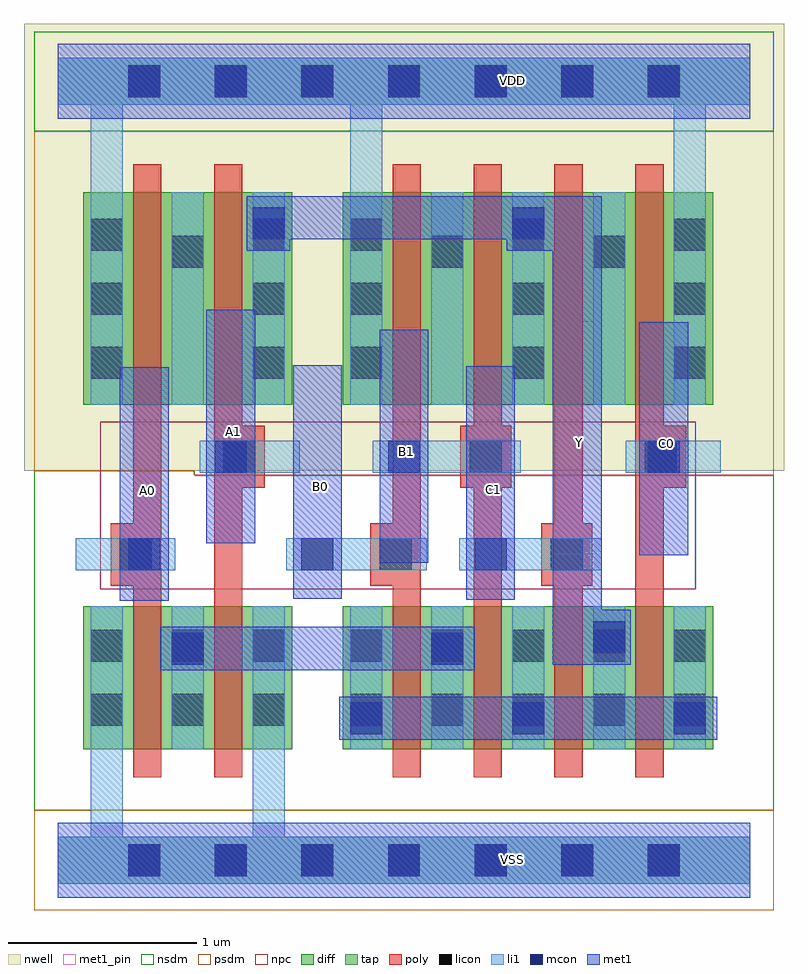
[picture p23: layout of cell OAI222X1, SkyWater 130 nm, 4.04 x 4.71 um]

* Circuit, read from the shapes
.subckt OAI222X1 A0 A1 B0 B1 C0 C1 VDD VSS Y
XM1 n1 A0 VSS VSS sky130_fd_pr__nfet_01v8 w=0.76 l=0.15
XM2 VSS A1 n1 VSS sky130_fd_pr__nfet_01v8 w=0.76 l=0.15
XM3 n1 B0 n2 VSS sky130_fd_pr__nfet_01v8 w=0.76 l=0.15
XM4 n2 B1 n1 VSS sky130_fd_pr__nfet_01v8 w=0.76 l=0.15
XM5 Y C1 n2 VSS sky130_fd_pr__nfet_01v8 w=0.76 l=0.15
XM6 n2 C0 Y VSS sky130_fd_pr__nfet_01v8 w=0.76 l=0.15
XM7 n3 A0 VDD VDD sky130_fd_pr__pfet_01v8 w=1.13 l=0.15
XM8 Y A1 n3 VDD sky130_fd_pr__pfet_01v8 w=1.13 l=0.15
XM9 n4 B0 VDD VDD sky130_fd_pr__pfet_01v8 w=1.13 l=0.15
XM10 Y B1 n4 VDD sky130_fd_pr__pfet_01v8 w=1.13 l=0.15
XM11 n5 C1 Y VDD sky130_fd_pr__pfet_01v8 w=1.13 l=0.15
XM12 VDD C0 n5 VDD sky130_fd_pr__pfet_01v8 w=1.13 l=0.15
.ends

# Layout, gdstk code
from math import pi, radians
import gdstk
lib = gdstk.Library(unit=1e-6, precision=1e-09)
def R(c, l, rs):  # rectangles x0, y0, x1, y1
    for r in rs: c.add(gdstk.rectangle(r[:2], r[2:], *l))
def A(c, l, x, y, w, h, nx, ny, dx, dy):  # array of equal rectangles
    R(c, l, [(x+i*dx, y+j*dy, x+i*dx+w, y+j*dy+h) for i in range(nx) for j in range(ny)])
def P(c, l, *ps):  # polygons
    for p in ps: c.add(gdstk.Polygon(p, *l))
nwell = (64, 20)
diff = (65, 20)
tap = (65, 44)
poly = (66, 20)
licon = (66, 44)
li1 = (67, 20)
mcon = (67, 44)
met1_pin = (68, 16)
met1 = (68, 20)
nsdm = (93, 44)
psdm = (94, 20)
npc = (95, 20)

nfet_01v8_cdns_715785618 = lib.new_cell('nfet_01v8_CDNS_71578561820132')
R(nfet_01v8_cdns_715785618, diff, [(-0.055,0,0,0.76), (0,0,0.15,0.76), (0.15,0,0.415,0.76)])
R(nfet_01v8_cdns_715785618, poly, [(0,-0.15,0.15,-0.095), (0,-0.095,0.15,0), (0,0,0.15,0.76), (0,0.76,0.15,0.855), (0,0.855,0.15,0.91)])
R(nfet_01v8_cdns_715785618, licon, [(0.205,0.125,0.375,0.295), (0.205,0.465,0.375,0.635)])
R(nfet_01v8_cdns_715785618, li1, [(0.205,0,0.375,0.76)])
R(nfet_01v8_cdns_715785618, nsdm, [(-0.065,-0.13,0.555,0.89)])

pfet_01v8_cdns_715785618 = lib.new_cell('pfet_01v8_CDNS_71578561820133')
R(pfet_01v8_cdns_715785618, nwell, [(-0.405,-0.18,0.385,1.31)])
R(pfet_01v8_cdns_715785618, diff, [(-0.225,0,0,1.13), (0,0,0.15,1.13), (0.15,0,0.205,1.13)])
R(pfet_01v8_cdns_715785618, poly, [(0,-0.15,0.15,-0.095), (0,-0.095,0.15,0), (0,0,0.15,1.13), (0,1.13,0.15,1.225), (0,1.225,0.15,1.28)])
R(pfet_01v8_cdns_715785618, psdm, [(-0.235,-0.13,0.215,1.26)])

c_pfet_01v8_cdns_715785618 = lib.new_cell('pfet_01v8_CDNS_715785618204')
R(c_pfet_01v8_cdns_715785618, nwell, [(-0.235,-0.18,0.595,1.31)])
R(c_pfet_01v8_cdns_715785618, diff, [(-0.055,0,0,1.13), (0,0,0.15,1.13), (0.15,0,0.415,1.13)])
R(c_pfet_01v8_cdns_715785618, poly, [(0,-0.15,0.15,-0.095), (0,-0.095,0.15,0), (0,0,0.15,1.13), (0,1.13,0.15,1.225), (0,1.225,0.15,1.28)])
A(c_pfet_01v8_cdns_715785618, licon, 0.205, 0.14, 0.17, 0.17, 1, 3, 0, 0.34)
R(c_pfet_01v8_cdns_715785618, li1, [(0.205,0,0.375,1.13)])
R(c_pfet_01v8_cdns_715785618, psdm, [(-0.065,-0.13,0.555,1.26)])

c_nfet_01v8_cdns_715785618 = lib.new_cell('nfet_01v8_CDNS_71578561820134')
R(c_nfet_01v8_cdns_715785618, diff, [(-0.225,0,0,0.76), (0,0,0.15,0.76), (0.15,0,0.375,0.76)])
R(c_nfet_01v8_cdns_715785618, poly, [(0,-0.15,0.15,-0.095), (0,-0.095,0.15,0), (0,0,0.15,0.76), (0,0.76,0.15,0.855), (0,0.855,0.15,0.91)])
R(c_nfet_01v8_cdns_715785618, licon, [(-0.225,0.125,-0.055,0.295), (0.205,0.125,0.375,0.295), (-0.225,0.465,-0.055,0.635), (0.205,0.465,0.375,0.635)])
R(c_nfet_01v8_cdns_715785618, li1, [(-0.225,0,-0.055,0.76), (0.205,0,0.375,0.76)])
R(c_nfet_01v8_cdns_715785618, nsdm, [(-0.235,-0.13,0.385,0.89)])

c_nfet_01v8_cdns_715785618_ = lib.new_cell('nfet_01v8_CDNS_715785618203')
R(c_nfet_01v8_cdns_715785618_, diff, [(-0.055,0,0,0.76), (0,0,0.15,0.76), (0.15,0,0.415,0.76)])
R(c_nfet_01v8_cdns_715785618_, poly, [(0,-0.15,0.15,-0.095), (0,-0.095,0.15,0), (0,0,0.15,0.76), (0,0.76,0.15,0.855), (0,0.855,0.15,0.91)])
R(c_nfet_01v8_cdns_715785618_, licon, [(0.205,0.125,0.375,0.295), (0.205,0.465,0.375,0.635)])
R(c_nfet_01v8_cdns_715785618_, li1, [(0.205,0,0.375,0.76)])
R(c_nfet_01v8_cdns_715785618_, nsdm, [(-0.065,-0.13,0.555,0.89)])

c_nfet_01v8_cdns_715785618__ = lib.new_cell('nfet_01v8_CDNS_715785618207')
R(c_nfet_01v8_cdns_715785618__, diff, [(-0.225,0,0,0.76), (0,0,0.15,0.76), (0.15,0,0.415,0.76)])
R(c_nfet_01v8_cdns_715785618__, poly, [(0,-0.15,0.15,-0.095), (0,-0.095,0.15,0), (0,0,0.15,0.76), (0,0.76,0.15,0.855), (0,0.855,0.15,0.91)])
R(c_nfet_01v8_cdns_715785618__, licon, [(-0.225,0.125,-0.055,0.295), (0.205,0.125,0.375,0.295), (-0.225,0.465,-0.055,0.635), (0.205,0.465,0.375,0.635)])
R(c_nfet_01v8_cdns_715785618__, li1, [(-0.225,0,-0.055,0.76), (0.205,0,0.375,0.76)])
R(c_nfet_01v8_cdns_715785618__, nsdm, [(-0.235,-0.13,0.555,0.89)])

c_pfet_01v8_cdns_715785618_ = lib.new_cell('pfet_01v8_CDNS_71578561820135')
R(c_pfet_01v8_cdns_715785618_, nwell, [(-0.405,-0.18,0.555,1.31)])
R(c_pfet_01v8_cdns_715785618_, diff, [(-0.225,0,0,1.13), (0,0,0.15,1.13), (0.15,0,0.375,1.13)])
R(c_pfet_01v8_cdns_715785618_, poly, [(0,-0.15,0.15,-0.095), (0,-0.095,0.15,0), (0,0,0.15,1.13), (0,1.13,0.15,1.225), (0,1.225,0.15,1.28)])
A(c_pfet_01v8_cdns_715785618_, licon, 0.205, 0.14, 0.17, 0.17, 1, 3, 0, 0.34)
R(c_pfet_01v8_cdns_715785618_, li1, [(0.205,0,0.375,1.13)])
R(c_pfet_01v8_cdns_715785618_, psdm, [(-0.235,-0.13,0.385,1.26)])

c_pfet_01v8_cdns_715785618__ = lib.new_cell('pfet_01v8_CDNS_71578561820136')
R(c_pfet_01v8_cdns_715785618__, nwell, [(-0.405,-0.18,0.595,1.31)])
R(c_pfet_01v8_cdns_715785618__, diff, [(-0.225,0,0,1.13), (0,0,0.15,1.13), (0.15,0,0.415,1.13)])
R(c_pfet_01v8_cdns_715785618__, poly, [(0,-0.15,0.15,-0.095), (0,-0.095,0.15,0), (0,0,0.15,1.13), (0,1.13,0.15,1.225), (0,1.225,0.15,1.28)])
A(c_pfet_01v8_cdns_715785618__, licon, 0.205, 0.14, 0.17, 0.17, 1, 3, 0, 0.34)
R(c_pfet_01v8_cdns_715785618__, li1, [(0.205,0,0.375,1.13)])
R(c_pfet_01v8_cdns_715785618__, psdm, [(-0.235,-0.13,0.555,1.26)])

c_nfet_01v8_cdns_715785618___ = lib.new_cell('nfet_01v8_CDNS_71578561820137')
R(c_nfet_01v8_cdns_715785618___, diff, [(-0.225,0,0,0.76), (0,0,0.15,0.76), (0.15,0,0.205,0.76)])
R(c_nfet_01v8_cdns_715785618___, poly, [(0,-0.15,0.15,-0.095), (0,-0.095,0.15,0), (0,0,0.15,0.76), (0,0.76,0.15,0.855), (0,0.855,0.15,0.91)])
R(c_nfet_01v8_cdns_715785618___, licon, [(-0.225,0.125,-0.055,0.295), (-0.225,0.465,-0.055,0.635)])
R(c_nfet_01v8_cdns_715785618___, li1, [(-0.225,0,-0.055,0.76)])
R(c_nfet_01v8_cdns_715785618___, nsdm, [(-0.235,-0.13,0.215,0.89)])

pyl1con_c_cdns_715785618 = lib.new_cell('PYL1CON_C_CDNS_715785618200')
R(pyl1con_c_cdns_715785618, poly, [(-0.135,-0.165,0.135,0.165)])
R(pyl1con_c_cdns_715785618, licon, [(-0.085,-0.085,0.085,0.085)])
R(pyl1con_c_cdns_715785618, npc, [(-0.185,-0.185,0.185,0.185)])

licondiff_c_cdns_7157856 = lib.new_cell('LICONDIFF_C_CDNS_7157856182013')
R(licondiff_c_cdns_7157856, diff, [(-0.125,-0.145,0.125,0.145)])
R(licondiff_c_cdns_7157856, licon, [(-0.085,-0.085,0.085,0.085), (-0.085,-0.085,0.085,0.085)])

l1m1_c_cdns_715785618203 = lib.new_cell('L1M1_C_CDNS_715785618203')
R(l1m1_c_cdns_715785618203, li1, [(-0.165,-0.085,0.165,0.085)])
R(l1m1_c_cdns_715785618203, mcon, [(-0.085,-0.085,0.085,0.085)])
R(l1m1_c_cdns_715785618203, met1, [(-0.115,-0.145,0.115,0.145)])

l1m1_c_cdns_715785618206 = lib.new_cell('L1M1_C_CDNS_715785618206')
R(l1m1_c_cdns_715785618206, li1, [(-0.085,-0.165,0.085,0.165)])
R(l1m1_c_cdns_715785618206, mcon, [(-0.085,-0.085,0.085,0.085)])
R(l1m1_c_cdns_715785618206, met1, [(-0.145,-0.115,0.145,0.115)])

l1m1_c_cdns_715785618202 = lib.new_cell('L1M1_C_CDNS_715785618202')
R(l1m1_c_cdns_715785618202, li1, [(-0.085,-0.165,0.085,0.165)])
R(l1m1_c_cdns_715785618202, mcon, [(-0.085,-0.085,0.085,0.085)])
R(l1m1_c_cdns_715785618202, met1, [(-0.115,-0.145,0.115,0.145)])

oai222x1 = lib.new_cell('OAI222X1')
R(oai222x1, nwell, [(-0.18,2.07,3.86,4.305), (-0.18,3.875,3.86,4.445)])
A(oai222x1, licon, 0.375, -0.085, 0.17, 0.17, 7, 2, 0.46, 4.14)
A(oai222x1, mcon, 0.375, -0.085, 0.17, 0.17, 7, 2, 0.46, 4.14)
R(oai222x1, met1_pin, [(0.33,1.38,0.59,2.62), (2.17,1.385,2.43,2.625), (1.25,1.39,1.51,2.63), (1.71,1.58,1.97,2.82), (3.09,1.62,3.35,2.86), (2.63,1.625,2.89,2.865), (0.79,1.685,1.05,2.925)])
R(oai222x1, met1, [(2.385,3.24,2.89,3.53)])
R(oai222x1, nsdm, [(-0.125,3.875,3.805,4.405), (-0.125,3.93,3.805,4.35)])
P(oai222x1, nsdm, [(3.805,2.045),(0.725,2.045),(0.725,2.07),(-0.125,2.07),(-0.125,0.265),(3.805,0.265)])
R(oai222x1, psdm, [(-0.125,-0.265,3.805,0.265), (-0.125,-0.21,3.805,0.21)])
P(oai222x1, psdm, [(3.805,3.875),(-0.125,3.875),(-0.125,2.07),(0.725,2.07),(0.725,2.045),(3.805,2.045)])
R(oai222x1, npc, [(0.225,1.44,3.39,2.33)])
oai222x1.add(gdstk.FlexPath([(0,0),(3.68,0)], 0.25, ends="flush", simple_path=True, layer=65, datatype=44))  # tap
oai222x1.add(gdstk.FlexPath([(0,4.14),(3.68,4.14)], 0.25, ends="flush", simple_path=True, layer=65, datatype=44))  # tap
oai222x1.add(gdstk.FlexPath([(0.475,1.5),(0.475,2.27)], 0.15, ends="flush", simple_path=True, layer=66, datatype=20))  # poly
oai222x1.add(gdstk.FlexPath([(1.855,1.5),(1.855,2.33)], 0.15, ends="flush", simple_path=True, layer=66, datatype=20))  # poly
oai222x1.add(gdstk.FlexPath([(0.905,1.5),(0.905,2.355)], 0.15, ends="flush", simple_path=True, layer=66, datatype=20))  # poly
oai222x1.add(gdstk.FlexPath([(3.145,1.5),(3.145,2.27)], 0.15, ends="flush", simple_path=True, layer=66, datatype=20))  # poly
oai222x1.add(gdstk.FlexPath([(2.715,1.5),(2.715,2.335)], 0.15, ends="flush", simple_path=True, layer=66, datatype=20))  # poly
oai222x1.add(gdstk.FlexPath([(2.285,1.5),(2.285,2.33)], 0.15, ends="flush", simple_path=True, layer=66, datatype=20))  # poly
oai222x1.add(gdstk.FlexPath([(1.475,1.625),(1.96,1.625)], 0.17, ends="flush", simple_path=True, layer=67, datatype=20))  # li1
oai222x1.add(gdstk.FlexPath([(3.525,2.145),(3.02,2.145)], 0.17, ends="flush", simple_path=True, layer=67, datatype=20))  # li1
oai222x1.add(gdstk.FlexPath([(1.955,2.145),(2.46,2.145)], 0.17, ends="flush", simple_path=True, layer=67, datatype=20))  # li1
oai222x1.add(gdstk.FlexPath([(0.69,2.42),(0.69,3.55)], 0.17, ends="flush", simple_path=True, layer=67, datatype=20))  # li1
oai222x1.add(gdstk.FlexPath([(0.095,1.625),(0.6,1.625)], 0.17, ends="flush", simple_path=True, layer=67, datatype=20))  # li1
oai222x1.add(gdstk.FlexPath([(2.93,2.42),(2.93,3.55)], 0.17, ends="flush", simple_path=True, layer=67, datatype=20))  # li1
oai222x1.add(gdstk.FlexPath([(1.285,2.145),(0.78,2.145)], 0.17, ends="flush", simple_path=True, layer=67, datatype=20))  # li1
oai222x1.add(gdstk.FlexPath([(2.385,1.625),(2.89,1.625)], 0.17, ends="flush", simple_path=True, layer=67, datatype=20))  # li1
oai222x1.add(gdstk.FlexPath([(2.07,2.42),(2.07,3.55)], 0.17, ends="flush", simple_path=True, layer=67, datatype=20))  # li1
oai222x1.add(gdstk.FlexPath([(2.47,0),(3.42,0)], 0.25, ends=(0.085, 0.085), simple_path=True, layer=67, datatype=20))  # li1
oai222x1.add(gdstk.FlexPath([(3.42,0),(3.595,0)], 0.25, ends=(0.085, 0.085), simple_path=True, layer=67, datatype=20))  # li1
oai222x1.add(gdstk.FlexPath([(0.69,0),(2.47,0)], 0.25, ends=(0.085, 0.085), simple_path=True, layer=67, datatype=20))  # li1
oai222x1.add(gdstk.FlexPath([(3.595,0),(3.68,0)], 0.25, ends=(0.085, 0), simple_path=True, layer=67, datatype=20))  # li1
oai222x1.add(gdstk.FlexPath([(0,0),(0.69,0)], 0.25, ends=(0, 0.085), simple_path=True, layer=67, datatype=20))  # li1
oai222x1.add(gdstk.FlexPath([(1.64,3.55),(1.64,4.14)], 0.17, ends=(0, 0.125), simple_path=True, layer=67, datatype=20))  # li1
oai222x1.add(gdstk.FlexPath([(1.64,4.14),(0.26,4.14)], 0.17, ends="extended", simple_path=True, layer=67, datatype=20))  # li1
oai222x1.add(gdstk.FlexPath([(1.12,0),(0.26,0)], 0.17, ends="extended", simple_path=True, layer=67, datatype=20))  # li1
oai222x1.add(gdstk.FlexPath([(3.36,4.14),(1.64,4.14)], 0.17, ends="extended", simple_path=True, layer=67, datatype=20))  # li1
oai222x1.add(gdstk.FlexPath([(1.12,0.59),(1.12,0)], 0.17, ends=(0, 0.085), simple_path=True, layer=67, datatype=20))  # li1
oai222x1.add(gdstk.FlexPath([(3.36,3.55),(3.36,4.14)], 0.17, ends=(0, 0.085), simple_path=True, layer=67, datatype=20))  # li1
oai222x1.add(gdstk.FlexPath([(0.26,3.55),(0.26,4.14)], 0.17, ends=(0, 0.125), simple_path=True, layer=67, datatype=20))  # li1
oai222x1.add(gdstk.FlexPath([(3.595,4.14),(3.68,4.14)], 0.25, ends=(0.085, 0), simple_path=True, layer=67, datatype=20))  # li1
oai222x1.add(gdstk.FlexPath([(0,4.14),(0.69,4.14)], 0.25, ends=(0, 0.085), simple_path=True, layer=67, datatype=20))  # li1
oai222x1.add(gdstk.FlexPath([(0.26,0.59),(0.26,0)], 0.17, ends=(0, 0.125), simple_path=True, layer=67, datatype=20))  # li1
oai222x1.add(gdstk.FlexPath([(2.47,4.14),(3.42,4.14)], 0.25, ends=(0.085, 0.085), simple_path=True, layer=67, datatype=20))  # li1
oai222x1.add(gdstk.FlexPath([(0.26,4.14),(0.215,4.14)], 0.17, ends=(0.085, 0), simple_path=True, layer=67, datatype=20))  # li1
oai222x1.add(gdstk.FlexPath([(0.26,0),(0.215,0)], 0.17, ends=(0.085, 0), simple_path=True, layer=67, datatype=20))  # li1
oai222x1.add(gdstk.FlexPath([(3.42,4.14),(3.595,4.14)], 0.25, ends=(0.085, 0.085), simple_path=True, layer=67, datatype=20))  # li1
oai222x1.add(gdstk.FlexPath([(0.69,4.14),(2.47,4.14)], 0.25, ends=(0.085, 0.085), simple_path=True, layer=67, datatype=20))  # li1
oai222x1.add(gdstk.FlexPath([(1.38,1.39),(1.38,2.63)], 0.26, ends="flush", simple_path=True, layer=68, datatype=20))  # met1
oai222x1.add(gdstk.FlexPath([(2.76,1.04),(2.76,3.53)], 0.26, ends="flush", simple_path=True, layer=68, datatype=20))  # met1
oai222x1.add(gdstk.FlexPath([(0.92,1.685),(0.92,2.925)], 0.26, ends="flush", simple_path=True, layer=68, datatype=20))  # met1
oai222x1.add(gdstk.FlexPath([(3.22,1.62),(3.22,2.86)], 0.26, ends="flush", simple_path=True, layer=68, datatype=20))  # met1
oai222x1.add(gdstk.FlexPath([(2.3,1.385),(2.3,2.625)], 0.26, ends="flush", simple_path=True, layer=68, datatype=20))  # met1
oai222x1.add(gdstk.FlexPath([(2.775,3.415),(1.12,3.415)], 0.23, ends="extended", simple_path=True, layer=68, datatype=20))  # met1
oai222x1.add(gdstk.FlexPath([(1.84,1.58),(1.84,2.82)], 0.26, ends="flush", simple_path=True, layer=68, datatype=20))  # met1
oai222x1.add(gdstk.FlexPath([(0.46,1.38),(0.46,2.62)], 0.26, ends="flush", simple_path=True, layer=68, datatype=20))  # met1
oai222x1.add(gdstk.FlexPath([(2.07,1.125),(0.69,1.125)], 0.23, ends="flush", simple_path=True, layer=68, datatype=20))  # met1
oai222x1.add(gdstk.FlexPath([(3.315,0.755),(1.64,0.755)], 0.23, ends="flush", simple_path=True, layer=68, datatype=20))  # met1
oai222x1.add(gdstk.FlexPath([(0,0),(3.68,0)], 0.4, ends="flush", simple_path=True, layer=68, datatype=20))  # met1
oai222x1.add(gdstk.FlexPath([(0,4.14),(3.68,4.14)], 0.4, ends="flush", simple_path=True, layer=68, datatype=20))  # met1
oai222x1.add(gdstk.FlexPath([(0,4.14),(3.68,4.14)], 0.4, ends="flush", simple_path=True, layer=68, datatype=16))  # met1_pin
oai222x1.add(gdstk.FlexPath([(0,0),(3.68,0)], 0.4, ends="flush", simple_path=True, layer=68, datatype=16))  # met1_pin
oai222x1.add(gdstk.Reference(nfet_01v8_cdns_715785618, (3.07,0.59)))
oai222x1.add(gdstk.Reference(pfet_01v8_cdns_715785618, (2.79,2.42), rotation=pi, x_reflection=True))
oai222x1.add(gdstk.Reference(c_pfet_01v8_cdns_715785618, (3.07,2.42)))
oai222x1.add(gdstk.Reference(c_pfet_01v8_cdns_715785618, (0.83,2.42)))
oai222x1.add(gdstk.Reference(c_pfet_01v8_cdns_715785618, (1.93,2.42), rotation=pi, x_reflection=True))
oai222x1.add(gdstk.Reference(c_nfet_01v8_cdns_715785618, (2.21,0.59)))
oai222x1.add(gdstk.Reference(c_nfet_01v8_cdns_715785618_, (0.83,0.59)))
oai222x1.add(gdstk.Reference(c_nfet_01v8_cdns_715785618_, (1.93,0.59), rotation=pi, x_reflection=True))
oai222x1.add(gdstk.Reference(c_nfet_01v8_cdns_715785618__, (0.55,0.59), rotation=pi, x_reflection=True))
oai222x1.add(gdstk.Reference(c_pfet_01v8_cdns_715785618_, (2.21,2.42)))
oai222x1.add(gdstk.Reference(c_pfet_01v8_cdns_715785618__, (0.55,2.42), rotation=pi, x_reflection=True))
oai222x1.add(gdstk.Reference(c_nfet_01v8_cdns_715785618___, (2.79,0.59), rotation=pi, x_reflection=True))
oai222x1.add(gdstk.Reference(pyl1con_c_cdns_715785618, (3.205,2.145), rotation=pi, x_reflection=True))
oai222x1.add(gdstk.Reference(pyl1con_c_cdns_715785618, (2.705,1.625)))
oai222x1.add(gdstk.Reference(pyl1con_c_cdns_715785618, (0.965,2.145), rotation=pi, x_reflection=True))
oai222x1.add(gdstk.Reference(pyl1con_c_cdns_715785618, (0.415,1.625)))
oai222x1.add(gdstk.Reference(pyl1con_c_cdns_715785618, (2.275,2.145)))
oai222x1.add(gdstk.Reference(pyl1con_c_cdns_715785618, (1.795,1.625)))
oai222x1.add(gdstk.Reference(licondiff_c_cdns_7157856, (0.69,3.235)))
oai222x1.add(gdstk.Reference(licondiff_c_cdns_7157856, (2.07,3.235)))
oai222x1.add(gdstk.Reference(licondiff_c_cdns_7157856, (2.93,3.235), rotation=pi, x_reflection=True))
oai222x1.add(gdstk.Reference(l1m1_c_cdns_715785618203, (1.38,1.625), x_reflection=True))
oai222x1.add(gdstk.Reference(l1m1_c_cdns_715785618203, (3.22,2.145), x_reflection=True))
oai222x1.add(gdstk.Reference(l1m1_c_cdns_715785618203, (2.3,1.625), x_reflection=True))
oai222x1.add(gdstk.Reference(l1m1_c_cdns_715785618203, (1.84,2.145), x_reflection=True))
oai222x1.add(gdstk.Reference(l1m1_c_cdns_715785618203, (0.92,2.145), x_reflection=True))
oai222x1.add(gdstk.Reference(l1m1_c_cdns_715785618203, (0.46,1.625), x_reflection=True))
oai222x1.add(gdstk.Reference(l1m1_c_cdns_715785618206, (1.64,0.755)))
oai222x1.add(gdstk.Reference(l1m1_c_cdns_715785618206, (2.07,1.125)))
oai222x1.add(gdstk.Reference(l1m1_c_cdns_715785618206, (2.5,0.755)))
oai222x1.add(gdstk.Reference(l1m1_c_cdns_715785618206, (3.36,0.755)))
oai222x1.add(gdstk.Reference(l1m1_c_cdns_715785618206, (0.69,1.125)))
oai222x1.add(gdstk.Reference(l1m1_c_cdns_715785618202, (2.5,3.385)))
oai222x1.add(gdstk.Reference(l1m1_c_cdns_715785618202, (1.12,3.385)))
oai222x1.add(gdstk.Reference(l1m1_c_cdns_715785618202, (2.93,1.185)))
oai222x1.add(gdstk.Label('VDD', (2.415,4.145), layer=68, texttype=20))
oai222x1.add(gdstk.Label('C0', (3.235,2.215), layer=68, texttype=20))
oai222x1.add(gdstk.Label('B1', (1.855,2.175), layer=68, texttype=20))
oai222x1.add(gdstk.Label('B0', (1.395,1.985), layer=68, texttype=20))
oai222x1.add(gdstk.Label('C1', (2.315,1.97), layer=68, texttype=20))
oai222x1.add(gdstk.Label('VSS', (2.415,0.005), layer=68, texttype=20))
oai222x1.add(gdstk.Label('Y', (2.775,2.22), layer=68, texttype=20))
oai222x1.add(gdstk.Label('A0', (0.475,1.965), layer=68, texttype=20))
oai222x1.add(gdstk.Label('A1', (0.935,2.28), layer=68, texttype=20))

lib.write_gds('OAI222X1.gds')
